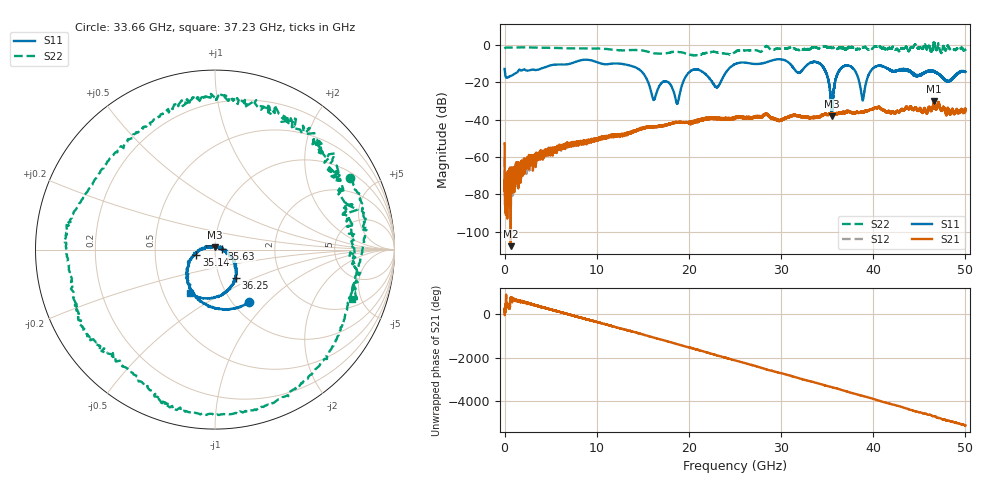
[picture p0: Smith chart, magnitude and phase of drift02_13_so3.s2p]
!Created with skrf (http://scikit-rf.org).
# Hz S RI R 50.0
!freq ReS11 ImS11 ReS21 ImS21 ReS12 ImS12 ReS22 ImS22
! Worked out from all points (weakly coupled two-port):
!   10001 points, 300 kHz to 50 GHz, reference 50 ohm
!   highest |S21| = -30.24 dB at 46.61 GHz (marker M1); lowest = -107.8 dB at 670.3 MHz (marker M2)
!   lowest |S11| = -38.3 dB at 35.51 GHz (marker M3), VSWR 1.02, Z = 49.8 + j1.2 ohm
!   |S11| at or under -10 dB: start of sweep to 7.176 GHz; 12.33 GHz to 25.16 GHz (12.83 GHz wide, 68.5 % of centre); 34.2 GHz to end of sweep (the widest 3 of 17)
!   |S22| runs from -5.7 to 2.3 dB; largest |S21 - S12| = 0.0033
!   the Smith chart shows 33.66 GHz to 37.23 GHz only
!   S11 on the Smith chart (normalised r, x): 33.66 GHz: 1.18, -0.79; 35.14 GHz: 0.81, -0.05; 35.63 GHz: 1.08, +0.01; 36.25 GHz: 1.19, -0.39; 37.23 GHz: 0.68, -0.36
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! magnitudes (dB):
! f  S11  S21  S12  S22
! 300 kHz  -12.9  -52.8  -60.4  -2.1
! 255.3 MHz  -17.6  -71.0  -80.4  -1.4
! 670.3 MHz  -16.7  -107.8  -70.1  -1.5
! 8.335 GHz  -8.2  -52.5  -52.6  -1.9
! 14.03 GHz  -11.7  -46.5  -46.4  -2.8
! 16.67 GHz  -23.2  -43.7  -43.7  -4.7
! 18.73 GHz  -31.4  -41.4  -41.4  -3.7
! 20.25 GHz  -13.8  -41.2  -41.2  -5.5
! 23.04 GHz  -22.7  -39.0  -39.2  -4.1
! 25 GHz  -10.3  -39.2  -39.2  -3.9
! 33.34 GHz  -9.3  -38.7  -38.9  -1.6
! 33.66 GHz  -9.1  -38.9  -38.5  -1.4
! 35.14 GHz  -19.3  -37.8  -37.2  -1.6
! 35.51 GHz  -38.3  -37.2  -36.8  -1.8
! 35.63 GHz  -28.2  -36.6  -36.7  -1.6
! 36.25 GHz  -14.3  -36.7  -36.7  -1.9
! 37.23 GHz  -11.1  -35.5  -35.8  -1.8
! 38.86 GHz  -29.8  -36.0  -36.1  -1.2
! 39.96 GHz  -12.7  -34.4  -34.4  -1.9
! 41.67 GHz  -13.0  -35.4  -35.7  -1.9
! 46.61 GHz  -14.2  -30.2  -30.0  2.3
! 50 GHz  -14.5  -34.5  -34.5  -2.6
